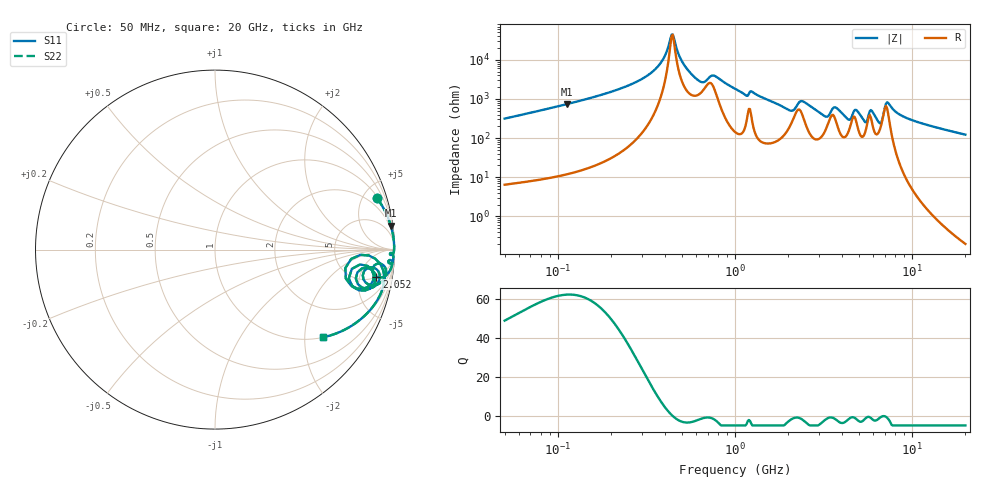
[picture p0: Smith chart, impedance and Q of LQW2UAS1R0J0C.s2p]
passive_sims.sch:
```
<Qucs Schematic 24.2.1>
<Properties>
  <View=220,76,1988,1066,0.943046,0,0>
  <Grid=10,10,1>
  <DataSet=passive_sims.dat>
  <DataDisplay=passive_sims.dpl>
  <OpenDisplay=0>
  <Script=passive_sims.m>
  <RunScript=0>
  <showFrame=0>
  <FrameText0=Title>
  <FrameText1=Drawn By:>
  <FrameText2=Date:>
  <FrameText3=Revision:>
</Properties>
<Symbol>
</Symbol>
<Components>
  <.SP SP1 1 270 130 0 68 0 0 "lin" 1 "1 MHz" 1 "1000 MHz" 1 "1001" 1 "no" 0 "1" 0 "2" 0 "no" 0 "no" 0>
  <Eqn Eqn1 1 510 150 -34 16 0 0 "dBS11=dB(S[1,1])" 1 "dBS21=dB(S[2,1])" 1 "dBS22=dB(S[2,2])" 1 "dBS12=dB(S[1,2])" 1 "yes" 0>
  <Pac P1 1 380 420 18 -26 0 1 "1" 1 "50 Ohm" 1 "0 dBm" 0 "1 MHz" 0 "26.85" 0 "true" 0>
  <GND * 1 380 450 0 0 0 0>
  <GND * 1 510 450 0 0 0 0>
  <C C3 1 510 420 17 -26 0 1 "10 uF" 1 "" 0 "neutral" 0>
  <Pac P2 1 1150 420 18 -26 0 1 "2" 1 "50 Ohm" 1 "0 dBm" 0 "1 MHz" 0 "26.85" 0 "true" 0>
  <GND * 1 1150 450 0 0 0 0>
  <GND * 1 980 450 0 0 0 0>
  <GND * 1 630 450 0 0 0 0>
  <GND * 1 770 450 0 0 0 0>
  <C C5 1 770 420 17 -26 0 1 "0.01 uF" 1 "" 0 "neutral" 0>
  <C C4 1 630 420 17 -26 0 1 "0.1 uF" 1 "" 0 "neutral" 0>
  <SPfile Choke1 1 980 390 -26 -40 0 0 "/home/mugundhan/iitk/work/generic_boards/discrete_filter_board/components/LQW2UAS1R0J0C.s2p" 0 "rectangular" 0 "linear" 0 "open" 0 "2" 0>
  <C C6 1 890 420 17 -26 0 1 "0.01 uF" 1 "" 0 "neutral" 0>
  <GND * 1 890 450 0 0 0 0>
</Components>
<Wires>
  <380 390 510 390 "" 0 0 0 "">
  <510 390 630 390 "" 0 0 0 "">
  <1010 390 1150 390 "" 0 0 0 "">
  <980 420 980 450 "" 0 0 0 "">
  <770 390 890 390 "" 0 0 0 "">
  <630 390 770 390 "" 0 0 0 "">
  <890 390 950 390 "" 0 0 0 "">
</Wires>
<Diagrams>
  <Rect 370 934 633 384 3 #c0c0c0 1 00 1 0 1e+08 1e+09 1 -2e-06 5e-07 1.75621e-07 1 -1 0.2 1 315 0 225 1 0 0 "" "" "">
	<"dBS21" #ff00ff 0 3 0 0 0>
	  <Mkr 1e+06 61 -271 3 0 0>
	<"dBS12" #ff0000 0 3 0 0 0>
	<"dBS11" #ff00ff 0 3 0 0 0>
	<"dBS22" #00ff00 0 3 0 0 0>
	  <Mkr 1e+06 168 -314 3 0 0>
	  <Mkr 9.7003e+08 684 -324 3 0 0>
  </Rect>
</Diagrams>
<Paintings>
</Paintings>
```
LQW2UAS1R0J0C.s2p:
!Murata Part Number: LQW2UAS1R0J0C
!These Parameters are Measured in Series Mode Connection
!  o--[Z]--o
!Port1  Port2
!  o-------o
!Freq. Start=50[MHz] Stop=20[GHz], 401[Steps]
# Hz S RI R 50
!Freq.(Hz) S11(Real) S11(Imag) S21(Real) S21(Imag) S12(Real) S12(Imag) S22(Real) S22(Imag)
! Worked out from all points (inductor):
!   401 points, 50 MHz to 20 GHz, reference 50 ohm
!   read as one part in series: L = 982 nH near 51.52 MHz
!   highest Q = 62 at 112.3 MHz (marker M1), where L = 1.04 uH
!   self-resonance near 438.7 MHz
!   S11 on the Smith chart (normalised r, x): 50 MHz: 1.13, +6.27; 2.052 GHz: 5, -9; 20 GHz: 1.00, -2.44
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5e7  0.9029 0.286  0.0971 -0.286  0.0971 -0.286  0.9029 0.286
1.12266e8  0.9798 0.1328  0.0202 -0.1328  0.0202 -0.1328  0.9798 0.1328
3.10884e8  0.9979 0.0275  0.00207 -0.0275  0.00207 -0.0275  0.9979 0.0275
4.387496e8  0.9979 0.000801  0.00213 -0.000801  0.00213 -0.000801  0.9979 0.000801
6.100003e8  0.9871 -0.0284  0.0129 0.0284  0.0129 0.0284  0.9871 -0.0284
1e9  0.9928 -0.054  0.00722 0.054  0.00722 0.054  0.9928 -0.054
2.05233e9  0.8989 -0.15  0.1011 0.15  0.1011 0.15  0.8989 -0.15
2.383959e9  0.9398 -0.0886  0.0602 0.0886  0.0602 0.0886  0.9398 -0.0886
6.503449e9  0.7577 -0.2007  0.2423 0.2007  0.2423 0.2007  0.7577 -0.2007
7.331367e9  0.9286 -0.0946  0.0714 0.0946  0.0714 0.0946  0.9286 -0.0946
2e10  0.599 -0.4893  0.401 0.4893  0.401 0.4893  0.599 -0.4893
